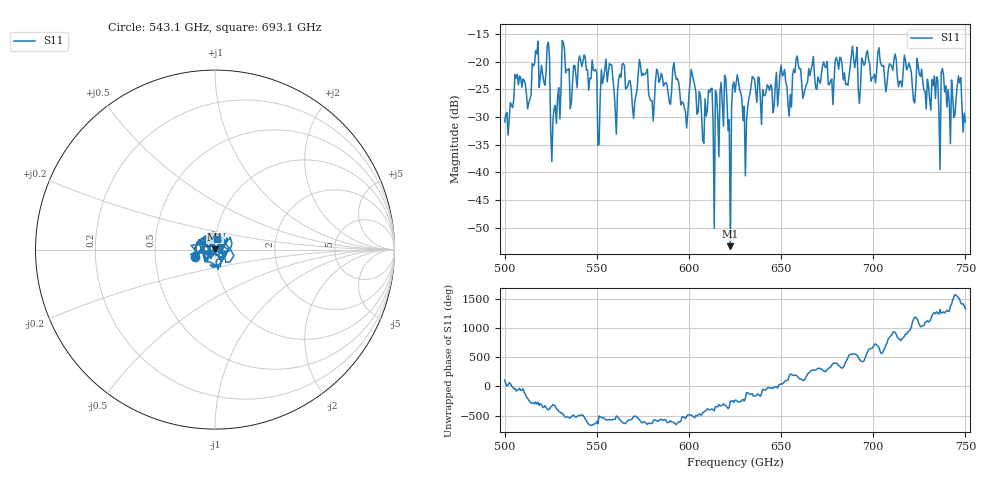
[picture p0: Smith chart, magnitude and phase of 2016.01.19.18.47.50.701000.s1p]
!Created with skrf (http://scikit-rf.org).
# GHz S RI R 50.0
!freq ReS11 ImS11
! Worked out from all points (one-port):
!   401 points, 500 GHz to 750 GHz, reference 50 ohm
!   lowest |S11| = -53.3 dB at 622.5 GHz (marker M1), VSWR 1.00, Z = 49.9 + j0.202 ohm
!   |S11| at or under -10 dB: start of sweep to end of sweep
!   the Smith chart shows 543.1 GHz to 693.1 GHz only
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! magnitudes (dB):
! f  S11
! 500 GHz  -30.9
! 506.9 GHz  -22.2
! 513.1 GHz  -27.4
! 516.9 GHz  -17.9
! 523.1 GHz  -17.1
! 526.2 GHz  -30.4
! 531.2 GHz  -16.1
! 548.8 GHz  -21.6
! 551.9 GHz  -26.4
! 553.8 GHz  -22.9
! 562.5 GHz  -22.2
! 593.8 GHz  -23.0
! 598.1 GHz  -29.0
! 601.9 GHz  -22.3
! 608.1 GHz  -34.7
! 611.2 GHz  -25.6
! 615 GHz  -25.8
! 618.8 GHz  -31.7
! 622.5 GHz  -53.3
! 625 GHz  -25.5
! 630.6 GHz  -40.6
! 634.4 GHz  -22.7
! 656.2 GHz  -22.4
! 687.5 GHz  -20.9
! 718.8 GHz  -21.0
! 735 GHz  -23.2
! 746.2 GHz  -22.6
! 750 GHz  -30.8
